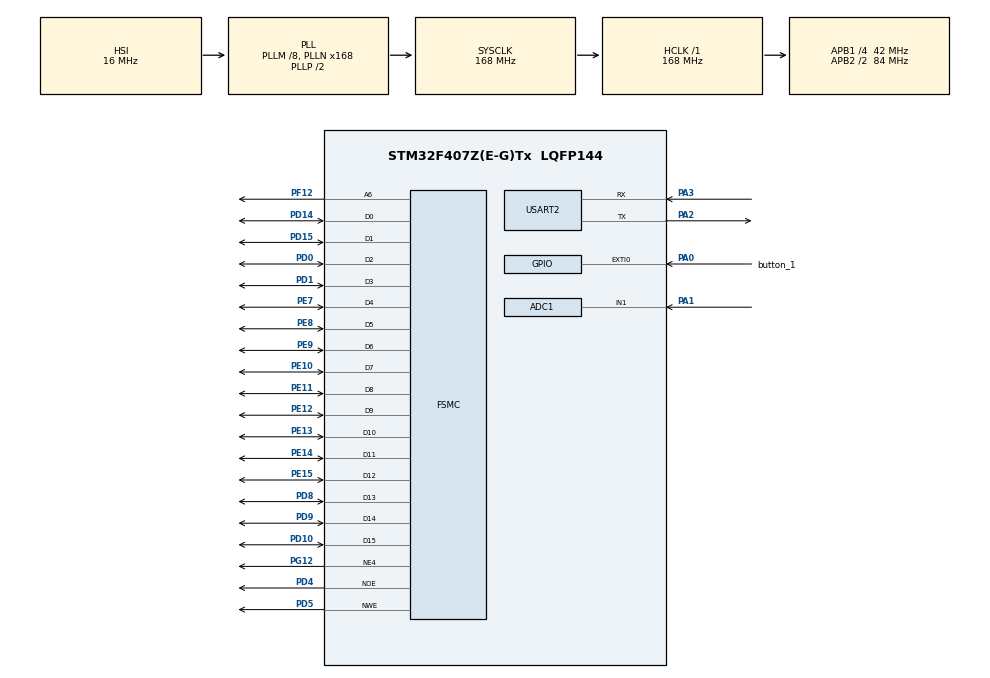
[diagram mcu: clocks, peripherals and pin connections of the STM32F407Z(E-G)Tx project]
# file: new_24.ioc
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ADC1.Channel-2\#ChannelRegularConversion=ADC_CHANNEL_1
ADC1.ClockPrescaler=ADC_CLOCK_SYNC_PCLK_DIV4
ADC1.ContinuousConvMode=ENABLE
ADC1.InjNumberOfConversion=0
ADC1.NbrOfConversion=1
ADC1.NbrOfConversionFlag=1
ADC1.Rank-2\#ChannelRegularConversion=1
ADC1.SamplingTime-2\#ChannelRegularConversion=ADC_SAMPLETIME_3CYCLES
ADC1.master=1
Dma.ADC1.0.Direction=DMA_PERIPH_TO_MEMORY
Dma.ADC1.0.FIFOMode=DMA_FIFOMODE_DISABLE
Dma.ADC1.0.Instance=DMA2_Stream0
Dma.ADC1.0.MemDataAlignment=DMA_MDATAALIGN_HALFWORD
Dma.ADC1.0.MemInc=DMA_MINC_ENABLE
Dma.ADC1.0.Mode=DMA_NORMAL
Dma.ADC1.0.PeriphDataAlignment=DMA_PDATAALIGN_HALFWORD
Dma.ADC1.0.PeriphInc=DMA_PINC_DISABLE
Dma.ADC1.0.Priority=DMA_PRIORITY_LOW
Dma.Request0=ADC1
FREERTOS.Queues01=q_input_to_lcd,5,uint32_t,0,Dynamic,NULL,NULL;q_lcd_to_output,5,uint32_t,0,Dynamic,NULL,NULL;q_output_to_input,5,uint32_t,0,Dynamic,NULL,NULL
FREERTOS.Tasks01=t_big_lcd,24,128,start_t_big_lcd,Default,NULL,Dynamic,NULL,NULL;t_input,32,128,start_t_input,Default,NULL,Dynamic,NULL,NULL;t_output,24,128,start_t_output,Default,NULL,Dynamic,NULL,NULL
FSMC.AddressSetupTime4=2
FSMC.BusTurnAroundDuration4=0
FSMC.DataSetupTime4=16
FSMC.ExtendedAddressSetupTime4=4
FSMC.ExtendedBusTurnAroundDuration4=0
FSMC.ExtendedDataSetupTime4=9
FSMC.ExtendedMode4=FSMC_EXTENDED_MODE_ENABLE
Mcu.Family=STM32F4
Mcu.Name=STM32F407Z(E-G)Tx
Mcu.Package=LQFP144
NVIC.ADC_IRQn=true\:5\:0\:false\:false\:true\:true\:true\:true\:true
NVIC.DMA2_Stream0_IRQn=true\:5\:0\:false\:false\:true\:true\:false\:true\:true
NVIC.PriorityGroup=NVIC_PRIORITYGROUP_4
NVIC.RCC_IRQn=true\:5\:0\:false\:false\:true\:true\:true\:false\:true
NVIC.TIM1_UP_TIM10_IRQn=true\:15\:0\:false\:false\:true\:false\:false\:true\:true
NVIC.TimeBase=TIM1_UP_TIM10_IRQn
NVIC.TimeBaseIP=TIM10
PA0-WKUP.GPIO_Label=button_1
PA0-WKUP.GPIO_ModeDefaultEXTI=GPIO_MODE_IT_RISING
PA0-WKUP.Signal=GPXTI0
PA1.Signal=ADCx_IN1
PA13.Mode=Serial_Wire
PA13.Signal=SYS_JTMS-SWDIO
PA14.Mode=Serial_Wire
PA14.Signal=SYS_JTCK-SWCLK
PA2.Mode=Asynchronous
PA2.Signal=USART2_TX
PA3.Mode=Asynchronous
PA3.Signal=USART2_RX
PD0.Signal=FSMC_D2_DA2
PD1.Signal=FSMC_D3_DA3
PD10.Signal=FSMC_D15_DA15
PD14.Signal=FSMC_D0_DA0
PD15.Signal=FSMC_D1_DA1
PD4.Signal=FSMC_NOE
PD5.Signal=FSMC_NWE
PD8.Signal=FSMC_D13_DA13
PD9.Signal=FSMC_D14_DA14
PE10.Signal=FSMC_D7_DA7
PE11.Signal=FSMC_D8_DA8
PE12.Signal=FSMC_D9_DA9
PE13.Signal=FSMC_D10_DA10
PE14.Signal=FSMC_D11_DA11
PE15.Signal=FSMC_D12_DA12
PE7.Signal=FSMC_D4_DA4
PE8.Signal=FSMC_D5_DA5
PE9.Signal=FSMC_D6_DA6
PF12.Signal=FSMC_A6
PG12.Mode=NorPsramChipSelect4_4
PG12.Signal=FSMC_NE4
PH0-OSC_IN.Mode=HSE-External-Oscillator
PH0-OSC_IN.Signal=RCC_OSC_IN
PH1-OSC_OUT.Mode=HSE-External-Oscillator
PH1-OSC_OUT.Signal=RCC_OSC_OUT
ProjectManager.HeapSize=0x200
ProjectManager.StackSize=0x400
ProjectManager.TargetToolchain=STM32CubeIDE
RCC.48MHZClocksFreq_Value=84000000
RCC.AHBFreq_Value=168000000
RCC.APB1CLKDivider=RCC_HCLK_DIV4
RCC.APB1Freq_Value=42000000
RCC.APB1TimFreq_Value=84000000
RCC.APB2CLKDivider=RCC_HCLK_DIV2
RCC.APB2Freq_Value=84000000
RCC.APB2TimFreq_Value=168000000
RCC.CortexFreq_Value=168000000
RCC.HCLKFreq_Value=168000000
RCC.HSE_VALUE=8000000
RCC.HSI_VALUE=16000000
RCC.LSE_VALUE=32768
RCC.PLLM=8
RCC.PLLN=168
RCC.SYSCLKFreq_VALUE=168000000
RCC.SYSCLKSource=RCC_SYSCLKSOURCE_PLLCLK
RCC.VCOOutputFreq_Value=336000000
SH.ADCx_IN1.0=ADC1_IN1,IN1
SH.FSMC_A6.0=FSMC_A6,A6_4
SH.FSMC_D0_DA0.0=FSMC_D0,16b-d4
SH.FSMC_D10_DA10.0=FSMC_D10,16b-d4
SH.FSMC_D11_DA11.0=FSMC_D11,16b-d4
SH.FSMC_D12_DA12.0=FSMC_D12,16b-d4
SH.FSMC_D13_DA13.0=FSMC_D13,16b-d4
SH.FSMC_D14_DA14.0=FSMC_D14,16b-d4
SH.FSMC_D15_DA15.0=FSMC_D15,16b-d4
SH.FSMC_D1_DA1.0=FSMC_D1,16b-d4
SH.FSMC_D2_DA2.0=FSMC_D2,16b-d4
SH.FSMC_D3_DA3.0=FSMC_D3,16b-d4
SH.FSMC_D4_DA4.0=FSMC_D4,16b-d4
SH.FSMC_D5_DA5.0=FSMC_D5,16b-d4
SH.FSMC_D6_DA6.0=FSMC_D6,16b-d4
SH.FSMC_D7_DA7.0=FSMC_D7,16b-d4
SH.FSMC_D8_DA8.0=FSMC_D8,16b-d4
SH.FSMC_D9_DA9.0=FSMC_D9,16b-d4
SH.FSMC_NOE.0=FSMC_NOE,Lcd4
SH.FSMC_NWE.0=FSMC_NWE,Lcd4
USART2.VirtualMode=VM_ASYNC
VP_FREERTOS_VS_CMSIS_V2.Mode=CMSIS_V2
VP_SYS_VS_tim10.Mode=TIM10
board=custom

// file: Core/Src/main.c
/* USER CODE BEGIN Header */
/**
  ******************************************************************************
  * @file           : main.c
  * @brief          : Main program body
  ******************************************************************************
  * @attention
  *
  * Copyright (c) 2024 STMicroelectronics.
  * All rights reserved.
  *
  * This software is licensed under terms that can be found in the LICENSE file
  * in the root directory of this software component.
  * If no LICENSE file comes with this software, it is provided AS-IS.
  *
  ******************************************************************************
  */
/* USER CODE END Header */
#include "main.h"
#include "cmsis_os.h"
#include "adc.h"
#include "dma.h"
#include "usart.h"
#include "gpio.h"
#include "fsmc.h"

void SystemClock_Config(void);
void MX_FREERTOS_Init(void);

int main(void)
{

  /* MCU Configuration--------------------------------------------------------*/

  /* Reset of all peripherals, Initializes the Flash interface and the Systick. */
  HAL_Init();

  /* Configure the system clock */
  SystemClock_Config();

  /* Initialize all configured peripherals */
  MX_GPIO_Init();
  MX_DMA_Init();
  MX_FSMC_Init();
  MX_USART2_UART_Init();
  MX_ADC1_Init();

  /* Init scheduler */
  osKernelInitialize();

  /* Call init function for freertos objects (in cmsis_os2.c) */
  MX_FREERTOS_Init();

  /* Start scheduler */
  osKernelStart();

  /* We should never get here as control is now taken by the scheduler */

  /* Infinite loop */
  while (1)
  {

  }
}

void SystemClock_Config(void)
{
  RCC_OscInitTypeDef RCC_OscInitStruct = {0};
  RCC_ClkInitTypeDef RCC_ClkInitStruct = {0};

  /** Configure the main internal regulator output voltage
  */
  __HAL_RCC_PWR_CLK_ENABLE();
  __HAL_PWR_VOLTAGESCALING_CONFIG(PWR_REGULATOR_VOLTAGE_SCALE1);

  /** Initializes the RCC Oscillators according to the specified parameters
  * in the RCC_OscInitTypeDef structure.
  */
  RCC_OscInitStruct.OscillatorType = RCC_OSCILLATORTYPE_HSI;
  RCC_OscInitStruct.HSIState = RCC_HSI_ON;
  RCC_OscInitStruct.HSICalibrationValue = RCC_HSICALIBRATION_DEFAULT;
  RCC_OscInitStruct.PLL.PLLState = RCC_PLL_ON;
  RCC_OscInitStruct.PLL.PLLSource = RCC_PLLSOURCE_HSI;
  RCC_OscInitStruct.PLL.PLLM = 8;
  RCC_OscInitStruct.PLL.PLLN = 168;
  RCC_OscInitStruct.PLL.PLLP = RCC_PLLP_DIV2;
  RCC_OscInitStruct.PLL.PLLQ = 4;
  if (HAL_RCC_OscConfig(&RCC_OscInitStruct) != HAL_OK)
  {
    Error_Handler();
  }

  /** Initializes the CPU, AHB and APB buses clocks
  */
  RCC_ClkInitStruct.ClockType = RCC_CLOCKTYPE_HCLK|RCC_CLOCKTYPE_SYSCLK
                              |RCC_CLOCKTYPE_PCLK1|RCC_CLOCKTYPE_PCLK2;
  RCC_ClkInitStruct.SYSCLKSource = RCC_SYSCLKSOURCE_PLLCLK;
  RCC_ClkInitStruct.AHBCLKDivider = RCC_SYSCLK_DIV1;
  RCC_ClkInitStruct.APB1CLKDivider = RCC_HCLK_DIV4;
  RCC_ClkInitStruct.APB2CLKDivider = RCC_HCLK_DIV2;

  if (HAL_RCC_ClockConfig(&RCC_ClkInitStruct, FLASH_LATENCY_5) != HAL_OK)
  {
    Error_Handler();
  }
}

void HAL_TIM_PeriodElapsedCallback(TIM_HandleTypeDef *htim)
{
  if (htim->Instance == TIM10) {
    HAL_IncTick();
  }
}

void Error_Handler(void)
{
  __disable_irq();
  while (1)
  {
  }
}

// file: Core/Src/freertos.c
/* USER CODE BEGIN Header */
/**
  ******************************************************************************
  * File Name          : freertos.c
  * Description        : Code for freertos applications
  ******************************************************************************
  * @attention
  *
  * Copyright (c) 2024 STMicroelectronics.
  * All rights reserved.
  *
  * This software is licensed under terms that can be found in the LICENSE file
  * in the root directory of this software component.
  * If no LICENSE file comes with this software, it is provided AS-IS.
  *
  ******************************************************************************
  */
/* USER CODE END Header */

/* USER CODE BEGIN Includes */
#include "self.h"
/* USER CODE END Includes */

/* Definitions for t_big_lcd */
osThreadId_t t_big_lcdHandle;
const osThreadAttr_t t_big_lcd_attributes = {
  .name = "t_big_lcd",
  .stack_size = 128 * 4,
  .priority = (osPriority_t) osPriorityNormal,
};
/* Definitions for t_input */
osThreadId_t t_inputHandle;
const osThreadAttr_t t_input_attributes = {
  .name = "t_input",
  .stack_size = 128 * 4,
  .priority = (osPriority_t) osPriorityAboveNormal,
};
/* Definitions for t_output */
osThreadId_t t_outputHandle;
const osThreadAttr_t t_output_attributes = {
  .name = "t_output",
  .stack_size = 128 * 4,
  .priority = (osPriority_t) osPriorityNormal,
};
/* Definitions for q_input_to_lcd */
osMessageQueueId_t q_input_to_lcdHandle;
const osMessageQueueAttr_t q_input_to_lcd_attributes = {
  .name = "q_input_to_lcd"
};
/* Definitions for q_lcd_to_output */
osMessageQueueId_t q_lcd_to_outputHandle;
const osMessageQueueAttr_t q_lcd_to_output_attributes = {
  .name = "q_lcd_to_output"
};
/* Definitions for q_output_to_input */
osMessageQueueId_t q_output_to_inputHandle;
const osMessageQueueAttr_t q_output_to_input_attributes = {
  .name = "q_output_to_input"
};

void start_t_big_lcd(void *argument);
void start_t_input(void *argument);
void start_t_output(void *argument);

void MX_FREERTOS_Init(void); /* (MISRA C 2004 rule 8.1) */

void MX_FREERTOS_Init(void) {

  /* Create the queue(s) */
  /* creation of q_input_to_lcd */
  q_input_to_lcdHandle = osMessageQueueNew (5, sizeof(uint32_t), &q_input_to_lcd_attributes);

  /* creation of q_lcd_to_output */
  q_lcd_to_outputHandle = osMessageQueueNew (5, sizeof(uint32_t), &q_lcd_to_output_attributes);

  /* creation of q_output_to_input */
  q_output_to_inputHandle = osMessageQueueNew (5, sizeof(uint32_t), &q_output_to_input_attributes);

  /* Create the thread(s) */
  /* creation of t_big_lcd */
  t_big_lcdHandle = osThreadNew(start_t_big_lcd, NULL, &t_big_lcd_attributes);

  /* creation of t_input */
  t_inputHandle = osThreadNew(start_t_input, NULL, &t_input_attributes);

  /* creation of t_output */
  t_outputHandle = osThreadNew(start_t_output, NULL, &t_output_attributes);

}

void start_t_big_lcd(void *argument)
{
  /* USER CODE BEGIN start_t_big_lcd */
  char on_screen[20];
  uint16_t lcd_buffer = 0;

  FRONT_COLOR = GREEN;
  BACK_COLOR = BLACK;
  TFTLCD_Init();
  LCD_Clear(BLACK);
  LCD_ShowString(10,10,tftlcd_data.width,tftlcd_data.height,24,(uint8_t *)"ADC Receive: \n");
  /* Infinite loop */
  for(;;)
  {
    if (xQueueReceive(q_input_to_lcdHandle, &lcd_buffer, portMAX_DELAY) == pdPASS)
    {
      sprintf(on_screen, "value: %d. \n", lcd_buffer);
      LCD_ShowString(10,40,tftlcd_data.width,tftlcd_data.height,24,(uint8_t *)on_screen);
    }
    vTaskDelay(pdMS_TO_TICKS(300));
  }
  /* USER CODE END start_t_big_lcd */
}

void start_t_input(void *argument)
{
  /* USER CODE BEGIN start_t_input */
  uint16_t input_buffer = 0;
  HAL_ADC_Start(&hadc1);
  /* Infinite loop */
  for(;;)
  {

    HAL_ADC_PollForConversion(&hadc1, 10);
    input_buffer = HAL_ADC_GetValue(&hadc1);
    //HAL_ADC_Stop(&hadc1);
    xQueueSendToBack(q_input_to_lcdHandle, &input_buffer, pdMS_TO_TICKS(30));
    vTaskDelay(pdMS_TO_TICKS(7 00));
  }
  /* USER CODE END start_t_input */
}

void start_t_output(void *argument)
{
  /* USER CODE BEGIN start_t_output */
  /* Infinite loop */
  for(;;)
  {
    vTaskDelay(pdMS_TO_TICKS(5000));
  }
  /* USER CODE END start_t_output */
}
